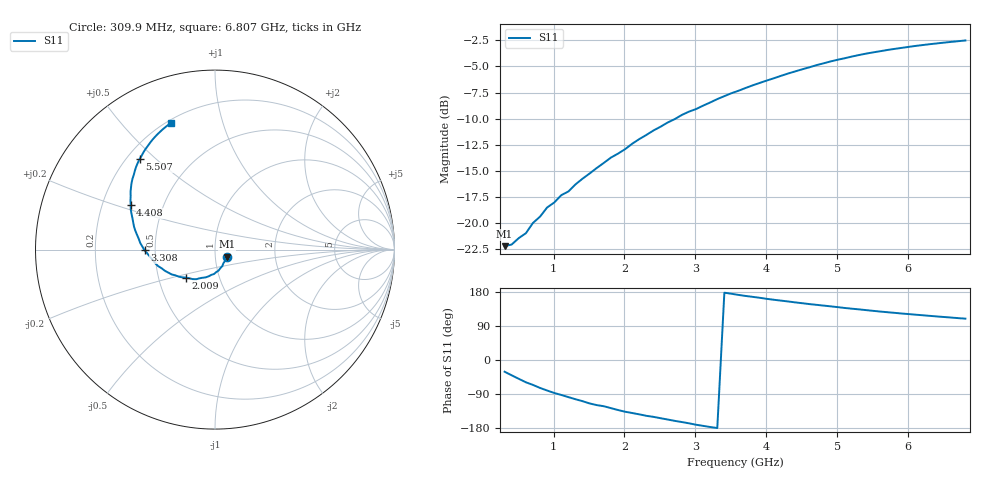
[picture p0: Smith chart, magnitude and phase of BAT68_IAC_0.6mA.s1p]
! Infineon Technologies  Discrete & RF Semiconductors
! BAT68
! IAC = 0.6 mA
! One-Port S-Parameters
# Hz  S  MA  R  50
!f  S11
!Hz  Mag  Ang
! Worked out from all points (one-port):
!   66 points, 309.9 MHz to 6.807 GHz, reference 50 ohm
!   lowest |S11| = -22.2 dB at 309.9 MHz (marker M1), VSWR 1.17, Z = 56.9 - j4.58 ohm
!   |S11| at or under -10 dB: start of sweep to 2.719 GHz
!   S11 on the Smith chart (normalised r, x): 309.9 MHz: 1.14, -0.09; 2.009 GHz: 0.69, -0.23; 3.308 GHz: 0.44, -0.00; 4.408 GHz: 0.32, +0.22; 5.507 GHz: 0.25, +0.44; 6.807 GHz: 0.21, +0.69
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3.0985e8  0.07768 -30.9
4.098e8  0.07912 -40.4
5.0975e8  0.0849 -49.7
6.097e8  0.08958 -58.8
7.0965e8  0.1003 -65.8
8.096e8  0.1075 -73.7
9.0955e8  0.119 -80.6
1.0095e9  0.1256 -87.0
1.10945e9  0.1363 -92.3
1.2094e9  0.1419 -98.0
1.30935e9  0.1534 -103.5
1.70915e9  0.1944 -122.0
1.8091e9  0.2061 -127.0
2.009e9  0.226 -136.5
2.10895e9  0.24 -139.9
2.4088e9  0.2777 -150.0
2.8086e9  0.3295 -163.7
3.30835e9  0.3923 -179.5
3.6082e9  0.4301 171.7
3.90805e9  0.4689 164.2
4.4078e9  0.5324 152.0
4.70765e9  0.5701 145.6
4.90755e9  0.5941 141.6
5.2074e9  0.6269 135.4
5.50725e9  0.6564 129.7
6.007e9  0.6971 121.2
6.30685e9  0.7183 116.5
6.8066e9  0.7483 109.1
